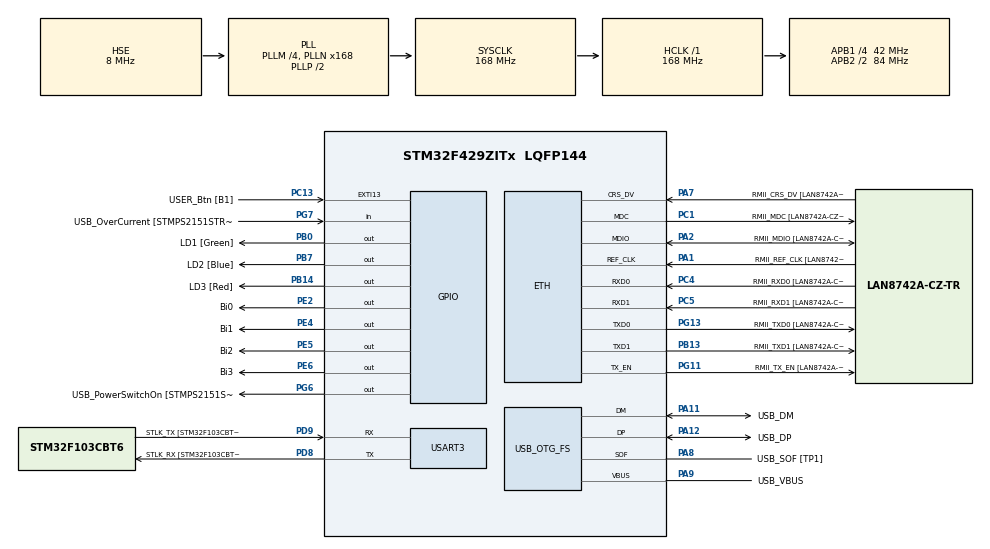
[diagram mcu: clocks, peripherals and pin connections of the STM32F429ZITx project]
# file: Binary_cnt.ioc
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ETH.MediaInterface=HAL_ETH_RMII_MODE
ETH.PHY_Name=LAN8742A_PHY_ADDRESS
ETH.PHY_Value=0
ETH.PhyAddress=0
Mcu.Family=STM32F4
Mcu.Name=STM32F429ZITx
Mcu.Package=LQFP144
NVIC.PriorityGroup=NVIC_PRIORITYGROUP_4
PA1.GPIO_Label=RMII_REF_CLK [LAN8742A-CZ-TR_REFCLK0]
PA1.Mode=RMII
PA1.Signal=ETH_REF_CLK
PA10.GPIO_Label=USB_ID
PA10.Signal=USB_OTG_FS_ID
PA11.GPIO_Label=USB_DM
PA11.Mode=Device_Only
PA11.Signal=USB_OTG_FS_DM
PA12.GPIO_Label=USB_DP
PA12.Mode=Device_Only
PA12.Signal=USB_OTG_FS_DP
PA13.GPIO_Label=TMS
PA13.Mode=Serial_Wire
PA13.Signal=SYS_JTMS-SWDIO
PA14.GPIO_Label=TCK
PA14.Mode=Serial_Wire
PA14.Signal=SYS_JTCK-SWCLK
PA2.GPIO_Label=RMII_MDIO [LAN8742A-CZ-TR_MDIO]
PA2.Mode=RMII
PA2.Signal=ETH_MDIO
PA7.GPIO_Label=RMII_CRS_DV [LAN8742A-CZ-TR_CRS_DV]
PA7.Mode=RMII
PA7.Signal=ETH_CRS_DV
PA8.GPIO_Label=USB_SOF [TP1]
PA8.Mode=Activate_SOF_FS
PA8.Signal=USB_OTG_FS_SOF
PA9.GPIO_Label=USB_VBUS
PA9.Mode=Activate_VBUS
PA9.Signal=USB_OTG_FS_VBUS
PB0.GPIO_Label=LD1 [Green]
PB0.Signal=GPIO_Output
PB13.GPIO_Label=RMII_TXD1 [LAN8742A-CZ-TR_TXD1]
PB13.Mode=RMII
PB13.Signal=ETH_TXD1
PB14.GPIO_Label=LD3 [Red]
PB14.Signal=GPIO_Output
PB7.GPIO_Label=LD2 [Blue]
PB7.Signal=GPIO_Output
PC1.GPIO_Label=RMII_MDC [LAN8742A-CZ-TR_MDC]
PC1.Mode=RMII
PC1.Signal=ETH_MDC
PC13.GPIO_Label=USER_Btn [B1]
PC13.Signal=GPXTI13
PC14/OSC32_IN.Mode=LSE-External-Oscillator
PC14/OSC32_IN.Signal=RCC_OSC32_IN
PC15/OSC32_OUT.Mode=LSE-External-Oscillator
PC15/OSC32_OUT.Signal=RCC_OSC32_OUT
PC4.GPIO_Label=RMII_RXD0 [LAN8742A-CZ-TR_RXD0]
PC4.Mode=RMII
PC4.Signal=ETH_RXD0
PC5.GPIO_Label=RMII_RXD1 [LAN8742A-CZ-TR_RXD1]
PC5.Mode=RMII
PC5.Signal=ETH_RXD1
PD8.GPIO_Label=STLK_RX [STM32F103CBT6_PA3]
PD8.Mode=Asynchronous
PD8.Signal=USART3_TX
PD9.GPIO_Label=STLK_TX [STM32F103CBT6_PA2]
PD9.Mode=Asynchronous
PD9.Signal=USART3_RX
PE2.GPIO_Label=Bi0
PE2.Signal=GPIO_Output
PE4.GPIO_Label=Bi1
PE4.Signal=GPIO_Output
PE5.GPIO_Label=Bi2
PE5.Signal=GPIO_Output
PE6.GPIO_Label=Bi3
PE6.Signal=GPIO_Output
PG11.GPIO_Label=RMII_TX_EN [LAN8742A-CZ-TR_TXEN]
PG11.Mode=RMII
PG11.Signal=ETH_TX_EN
PG13.GPIO_Label=RMII_TXD0 [LAN8742A-CZ-TR_TXD0]
PG13.Mode=RMII
PG13.Signal=ETH_TXD0
PG6.GPIO_Label=USB_PowerSwitchOn [STMPS2151STR_EN]
PG6.Signal=GPIO_Output
PG7.GPIO_Label=USB_OverCurrent [STMPS2151STR_FAULT]
PG7.Signal=GPIO_Input
PH0/OSC_IN.GPIO_Label=MCO [STM32F103CBT6_PA8]
PH0/OSC_IN.Mode=HSE-External-Clock-Source
PH0/OSC_IN.Signal=RCC_OSC_IN
PH1/OSC_OUT.Mode=HSE-External-Clock-Source
PH1/OSC_OUT.Signal=RCC_OSC_OUT
ProjectManager.HeapSize=0x200
ProjectManager.StackSize=0x400
ProjectManager.TargetToolchain=STM32CubeIDE
RCC.48MHZClocksFreq_Value=48000000
RCC.AHBFreq_Value=168000000
RCC.APB1CLKDivider=RCC_HCLK_DIV4
RCC.APB1Freq_Value=42000000
RCC.APB1TimFreq_Value=84000000
RCC.APB2CLKDivider=RCC_HCLK_DIV2
RCC.APB2Freq_Value=84000000
RCC.APB2TimCLKDivider=2
RCC.APB2TimFreq_Value=168000000
RCC.CortexFreq_Value=168000000
RCC.HCLKFreq_Value=168000000
RCC.HSE_VALUE=8000000
RCC.HSI_VALUE=16000000
RCC.PLLM=4
RCC.PLLMUL=RCC_PLL_MUL9
RCC.PLLN=168
RCC.PLLQ=7
RCC.PRESCALERUSB=RCC_USBCLKSOURCE_PLL_DIV1_5
RCC.SYSCLKFreq_VALUE=168000000
RCC.SYSCLKSource=RCC_SYSCLKSOURCE_PLLCLK
RCC.SYSCLKSourceVirtual=RCC_SYSCLKSOURCE_PLLCLK
RCC.USBFreq_Value=48000000
RCC.VCOOutputFreq_Value=336000000
USART3.VirtualMode=VM_ASYNC
USB_OTG_FS.VirtualMode=Device_Only
board=NUCLEO-F429ZI

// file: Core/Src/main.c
/* USER CODE BEGIN Header */
/**
  ******************************************************************************
  * @file           : main.c
  * @brief          : Main program body
  ******************************************************************************
  * @attention
  *
  * Copyright (c) 2023 STMicroelectronics.
  * All rights reserved.
  *
  * This software is licensed under terms that can be found in the LICENSE file
  * in the root directory of this software component.
  * If no LICENSE file comes with this software, it is provided AS-IS.
  *
  ******************************************************************************
  */
/* USER CODE END Header */
#include "main.h"
#include "string.h"

ETH_TxPacketConfig TxConfig;
ETH_DMADescTypeDef  DMARxDscrTab[ETH_RX_DESC_CNT]; /* Ethernet Rx DMA Descriptors */
ETH_DMADescTypeDef  DMATxDscrTab[ETH_TX_DESC_CNT]; /* Ethernet Tx DMA Descriptors */

ETH_HandleTypeDef heth;

UART_HandleTypeDef huart3;

PCD_HandleTypeDef hpcd_USB_OTG_FS;

void SystemClock_Config(void);
static void MX_GPIO_Init(void);
static void MX_ETH_Init(void);
static void MX_USART3_UART_Init(void);
static void MX_USB_OTG_FS_PCD_Init(void);

int main(void)
{

  /* MCU Configuration--------------------------------------------------------*/

  /* Reset of all peripherals, Initializes the Flash interface and the Systick. */
  HAL_Init();

  /* Configure the system clock */
  SystemClock_Config();

  /* Initialize all configured peripherals */
  MX_GPIO_Init();
  MX_ETH_Init();
  MX_USART3_UART_Init();
  MX_USB_OTG_FS_PCD_Init();

  /* Infinite loop */
  /* USER CODE BEGIN WHILE */
  int count = 0;
  while (1)
  {
	  void hexLed(int n) {
		  int arr[4] = {0,0,0,0};
		  for (int i = 0; i < 4; i++){
			  arr[i] = n % 2;
			  n /= 2;
		  }
		  HAL_GPIO_WritePin(GPIOE, Bi0_Pin, arr[0]);
		  HAL_GPIO_WritePin(GPIOE, Bi0_Pin, arr[1]);
		  HAL_GPIO_WritePin(GPIOE, Bi0_Pin, arr[2]);
		  HAL_GPIO_WritePin(GPIOE, Bi0_Pin, arr[3]);

//		  if (arr[0] == 1) HAL_GPIO_WritePin(GPIOE, Bi0_Pin, 1);
//		  else HAL_GPIO_WritePin(GPIOE, Bi0_Pin, 0);
//		  if (arr[1] == 1) HAL_GPIO_WritePin(GPIOE, Bi1_Pin, 1);
//		  else HAL_GPIO_WritePin(GPIOE, Bi1_Pin, 0);
//		  if (arr[2] == 1) HAL_GPIO_WritePin(GPIOE, Bi2_Pin, 1);
//		  else HAL_GPIO_WritePin(GPIOE, Bi2_Pin, 0);
//		  if (arr[3] == 1) HAL_GPIO_WritePin(GPIOE, Bi3_Pin, 1);
//		  else HAL_GPIO_WritePin(GPIOE, Bi3_Pin, 0);
		  HAL_Delay(200);
	  }

	  if (HAL_GPIO_ReadPin(GPIOC, GPIO_PIN_13) == GPIO_PIN_SET) {
		  count++;
		  if (count == 16) count = 0;
		  hexLed(count);
	  }
    /* USER CODE END WHILE */

  }
}

void SystemClock_Config(void)
{
  RCC_OscInitTypeDef RCC_OscInitStruct = {0};
  RCC_ClkInitTypeDef RCC_ClkInitStruct = {0};

  /** Configure the main internal regulator output voltage
  */
  __HAL_RCC_PWR_CLK_ENABLE();
  __HAL_PWR_VOLTAGESCALING_CONFIG(PWR_REGULATOR_VOLTAGE_SCALE1);

  /** Initializes the RCC Oscillators according to the specified parameters
  * in the RCC_OscInitTypeDef structure.
  */
  RCC_OscInitStruct.OscillatorType = RCC_OSCILLATORTYPE_HSE;
  RCC_OscInitStruct.HSEState = RCC_HSE_BYPASS;
  RCC_OscInitStruct.PLL.PLLState = RCC_PLL_ON;
  RCC_OscInitStruct.PLL.PLLSource = RCC_PLLSOURCE_HSE;
  RCC_OscInitStruct.PLL.PLLM = 4;
  RCC_OscInitStruct.PLL.PLLN = 168;
  RCC_OscInitStruct.PLL.PLLP = RCC_PLLP_DIV2;
  RCC_OscInitStruct.PLL.PLLQ = 7;
  if (HAL_RCC_OscConfig(&RCC_OscInitStruct) != HAL_OK)
  {
    Error_Handler();
  }

  /** Initializes the CPU, AHB and APB buses clocks
  */
  RCC_ClkInitStruct.ClockType = RCC_CLOCKTYPE_HCLK|RCC_CLOCKTYPE_SYSCLK
                              |RCC_CLOCKTYPE_PCLK1|RCC_CLOCKTYPE_PCLK2;
  RCC_ClkInitStruct.SYSCLKSource = RCC_SYSCLKSOURCE_PLLCLK;
  RCC_ClkInitStruct.AHBCLKDivider = RCC_SYSCLK_DIV1;
  RCC_ClkInitStruct.APB1CLKDivider = RCC_HCLK_DIV4;
  RCC_ClkInitStruct.APB2CLKDivider = RCC_HCLK_DIV2;

  if (HAL_RCC_ClockConfig(&RCC_ClkInitStruct, FLASH_LATENCY_5) != HAL_OK)
  {
    Error_Handler();
  }
}

static void MX_ETH_Init(void)
{

   static uint8_t MACAddr[6];

  heth.Instance = ETH;
  MACAddr[0] = 0x00;
  MACAddr[1] = 0x80;
  MACAddr[2] = 0xE1;
  MACAddr[3] = 0x00;
  MACAddr[4] = 0x00;
  MACAddr[5] = 0x00;
  heth.Init.MACAddr = &MACAddr[0];
  heth.Init.MediaInterface = HAL_ETH_RMII_MODE;
  heth.Init.TxDesc = DMATxDscrTab;
  heth.Init.RxDesc = DMARxDscrTab;
  heth.Init.RxBuffLen = 1524;

  if (HAL_ETH_Init(&heth) != HAL_OK)
  {
    Error_Handler();
  }

  memset(&TxConfig, 0 , sizeof(ETH_TxPacketConfig));
  TxConfig.Attributes = ETH_TX_PACKETS_FEATURES_CSUM | ETH_TX_PACKETS_FEATURES_CRCPAD;
  TxConfig.ChecksumCtrl = ETH_CHECKSUM_IPHDR_PAYLOAD_INSERT_PHDR_CALC;
  TxConfig.CRCPadCtrl = ETH_CRC_PAD_INSERT;

}

static void MX_USART3_UART_Init(void)
{

  huart3.Instance = USART3;
  huart3.Init.BaudRate = 115200;
  huart3.Init.WordLength = UART_WORDLENGTH_8B;
  huart3.Init.StopBits = UART_STOPBITS_1;
  huart3.Init.Parity = UART_PARITY_NONE;
  huart3.Init.Mode = UART_MODE_TX_RX;
  huart3.Init.HwFlowCtl = UART_HWCONTROL_NONE;
  huart3.Init.OverSampling = UART_OVERSAMPLING_16;
  if (HAL_UART_Init(&huart3) != HAL_OK)
  {
    Error_Handler();
  }

}

static void MX_USB_OTG_FS_PCD_Init(void)
{

  hpcd_USB_OTG_FS.Instance = USB_OTG_FS;
  hpcd_USB_OTG_FS.Init.dev_endpoints = 4;
  hpcd_USB_OTG_FS.Init.speed = PCD_SPEED_FULL;
  hpcd_USB_OTG_FS.Init.dma_enable = DISABLE;
  hpcd_USB_OTG_FS.Init.phy_itface = PCD_PHY_EMBEDDED;
  hpcd_USB_OTG_FS.Init.Sof_enable = ENABLE;
  hpcd_USB_OTG_FS.Init.low_power_enable = DISABLE;
  hpcd_USB_OTG_FS.Init.lpm_enable = DISABLE;
  hpcd_USB_OTG_FS.Init.vbus_sensing_enable = ENABLE;
  hpcd_USB_OTG_FS.Init.use_dedicated_ep1 = DISABLE;
  if (HAL_PCD_Init(&hpcd_USB_OTG_FS) != HAL_OK)
  {
    Error_Handler();
  }

}

static void MX_GPIO_Init(void)
{
  GPIO_InitTypeDef GPIO_InitStruct = {0};

  /* GPIO Ports Clock Enable */
  __HAL_RCC_GPIOE_CLK_ENABLE();
  __HAL_RCC_GPIOC_CLK_ENABLE();
  __HAL_RCC_GPIOH_CLK_ENABLE();
  __HAL_RCC_GPIOA_CLK_ENABLE();
  __HAL_RCC_GPIOB_CLK_ENABLE();
  __HAL_RCC_GPIOD_CLK_ENABLE();
  __HAL_RCC_GPIOG_CLK_ENABLE();

  /*Configure GPIO pin Output Level */
  HAL_GPIO_WritePin(GPIOE, Bi0_Pin|Bi1_Pin|Bi2_Pin|Bi3_Pin, GPIO_PIN_RESET);

  /*Configure GPIO pin Output Level */
  HAL_GPIO_WritePin(GPIOB, LD1_Pin|LD3_Pin|LD2_Pin, GPIO_PIN_RESET);

  /*Configure GPIO pin Output Level */
  HAL_GPIO_WritePin(USB_PowerSwitchOn_GPIO_Port, USB_PowerSwitchOn_Pin, GPIO_PIN_RESET);

  /*Configure GPIO pins : Bi0_Pin Bi1_Pin Bi2_Pin Bi3_Pin */
  GPIO_InitStruct.Pin = Bi0_Pin|Bi1_Pin|Bi2_Pin|Bi3_Pin;
  GPIO_InitStruct.Mode = GPIO_MODE_OUTPUT_PP;
  GPIO_InitStruct.Pull = GPIO_NOPULL;
  GPIO_InitStruct.Speed = GPIO_SPEED_FREQ_LOW;
  HAL_GPIO_Init(GPIOE, &GPIO_InitStruct);

  /*Configure GPIO pin : USER_Btn_Pin */
  GPIO_InitStruct.Pin = USER_Btn_Pin;
  GPIO_InitStruct.Mode = GPIO_MODE_IT_RISING;
  GPIO_InitStruct.Pull = GPIO_NOPULL;
  HAL_GPIO_Init(USER_Btn_GPIO_Port, &GPIO_InitStruct);

  /*Configure GPIO pins : LD1_Pin LD3_Pin LD2_Pin */
  GPIO_InitStruct.Pin = LD1_Pin|LD3_Pin|LD2_Pin;
  GPIO_InitStruct.Mode = GPIO_MODE_OUTPUT_PP;
  GPIO_InitStruct.Pull = GPIO_NOPULL;
  GPIO_InitStruct.Speed = GPIO_SPEED_FREQ_LOW;
  HAL_GPIO_Init(GPIOB, &GPIO_InitStruct);

  /*Configure GPIO pin : USB_PowerSwitchOn_Pin */
  GPIO_InitStruct.Pin = USB_PowerSwitchOn_Pin;
  GPIO_InitStruct.Mode = GPIO_MODE_OUTPUT_PP;
  GPIO_InitStruct.Pull = GPIO_NOPULL;
  GPIO_InitStruct.Speed = GPIO_SPEED_FREQ_LOW;
  HAL_GPIO_Init(USB_PowerSwitchOn_GPIO_Port, &GPIO_InitStruct);

  /*Configure GPIO pin : USB_OverCurrent_Pin */
  GPIO_InitStruct.Pin = USB_OverCurrent_Pin;
  GPIO_InitStruct.Mode = GPIO_MODE_INPUT;
  GPIO_InitStruct.Pull = GPIO_NOPULL;
  HAL_GPIO_Init(USB_OverCurrent_GPIO_Port, &GPIO_InitStruct);

}

void Error_Handler(void)
{
  __disable_irq();
  while (1)
  {
  }
}
